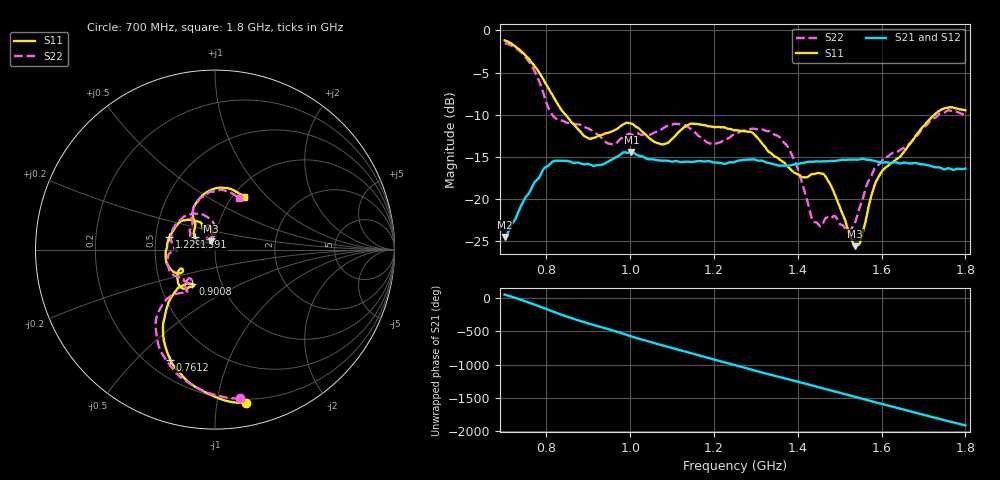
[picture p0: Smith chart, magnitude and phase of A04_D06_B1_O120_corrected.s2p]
! Created with skrf 1.9.0 (http://scikit-rf.org).
# Hz S RI R 50.0
!freq ReS11 ImS11 ReS21 ImS21 ReS12 ImS12 ReS22 ImS22
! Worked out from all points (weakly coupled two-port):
!   1601 points, 700 MHz to 1.8 GHz, reference 50 ohm
!   highest |S21| = -14.44 dB at 1.002 GHz (marker M1); lowest = -24.5 dB at 700 MHz (marker M2)
!   lowest |S11| = -25.6 dB at 1.537 GHz (marker M3), VSWR 1.11, Z = 47.6 + j4.5 ohm
!   |S11| at or under -10 dB: 845.4 MHz to 1.726 GHz (880.6 MHz wide, 68.5 % of centre)
!   |S22| runs from -24.0 to -1.5 dB; largest |S21 - S12| = 0.0034
!   S11 on the Smith chart (normalised r, x): 700 MHz: 0.17, -1.21; 761.2 MHz: 0.29, -0.63; 900.8 MHz: 0.73, -0.29; 1.229 GHz: 0.59, +0.09; 1.591 GHz: 0.79, +0.11; 1.8 GHz: 1.12, +0.75
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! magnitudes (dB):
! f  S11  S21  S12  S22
! 700 MHz  -1.2  -24.5  -24.3  -1.5
! 761.2 MHz  -3.6  -19.1  -19.0  -3.9
! 815.5 MHz  -7.8  -15.6  -15.6  -10.1
! 883.6 MHz  -12.2  -15.8  -15.7  -11.3
! 900.8 MHz  -12.8  -15.9  -15.9  -11.7
! 953.7 MHz  -12.0  -15.4  -15.4  -13.5
! 1.002 GHz  -11.0  -14.4  -14.5  -12.4
! 1.067 GHz  -13.4  -15.4  -15.4  -11.9
! 1.144 GHz  -11.1  -15.6  -15.6  -11.7
! 1.229 GHz  -11.6  -15.8  -15.7  -12.9
! 1.25 GHz  -11.9  -15.6  -15.5  -12.3
! 1.358 GHz  -15.4  -16.1  -16.0  -12.8
! 1.396 GHz  -17.0  -15.9  -15.9  -15.9
! 1.434 GHz  -17.1  -15.6  -15.6  -22.4
! 1.471 GHz  -17.8  -15.5  -15.5  -22.2
! 1.52 GHz  -23.8  -15.3  -15.3  -24.0
! 1.537 GHz  -25.6  -15.3  -15.3  -22.8
! 1.55 GHz  -25.0  -15.3  -15.3  -20.7
! 1.591 GHz  -17.5  -15.6  -15.6  -16.0
! 1.617 GHz  -16.0  -15.7  -15.7  -14.9
! 1.735 GHz  -9.6  -16.2  -16.3  -10.1
! 1.8 GHz  -9.5  -16.4  -16.4  -10.0
